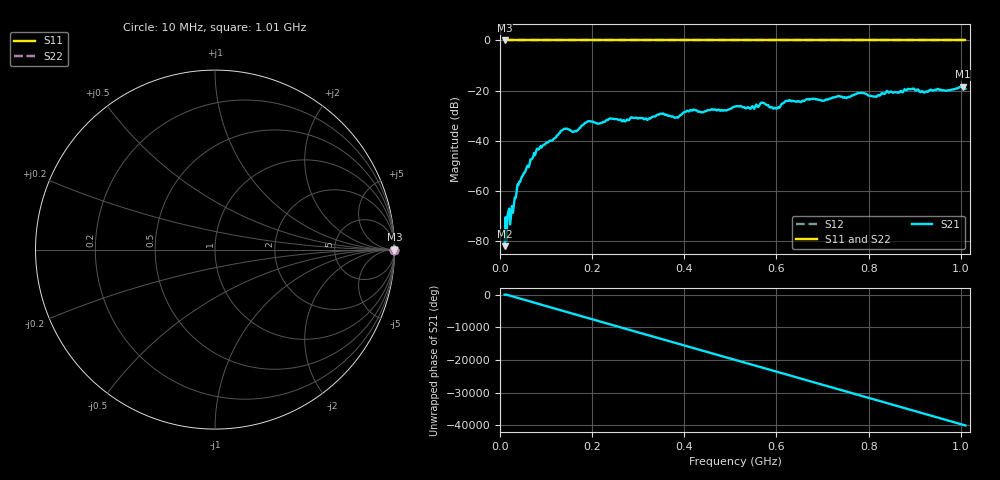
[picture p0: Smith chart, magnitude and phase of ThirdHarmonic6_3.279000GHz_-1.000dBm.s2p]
! 8/17/2025 10:10:03 AM
! C:\ANRITSUVNA\TEMP\TEMP.S2P
! CHANNEL.1
! TR.MEASUREMENT
! RAW.DATA
! RF.CORRECTION.OFF
! AVERAGING.OFF
! IF.BANDWIDTH: 5KHZ
! SWEEPTYPE:  FREQ.SWEEP(Linear)
! Reference Plane Port Info
! PORT:  PORT1  PORT2
! DISTANCE:  0  m  0  m
! TIME:  0  s  0  s
! PHASE.OFFSET:  0  deg.  0  deg.
! LOSS:  0  dB  0  dB
! REF.LOSS:  0  dB  0  dB
! REF.FREQ:  0  Hz  0  Hz
! Power Info
! POWER:  -20  dBm  -20  dBm
! EFF.POWER:  -20  dBm  -20  dBm
! SOURCE.ATTEN:  0  dB  0  dB
! TEST.ATTEN:  0  dB  0  dB
# GHZ S RI R 50.0
! FREQ.GHZ  S11RE  S11IM  S21RE  S21IM  S12RE  S12IM  S22RE  S22IM
!; PortSelection: Port_12
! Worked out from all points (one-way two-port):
!   501 points, 10 MHz to 1.01 GHz, reference 50 ohm
!   highest |S21| = -18.39 dB at 1.004 GHz (marker M1); lowest = -81.9 dB at 10 MHz (marker M2)
!   lowest |S11| = 0.0 dB at 10 MHz (marker M3)
!   |S11| at or under -10 dB: nowhere
!   |S22| runs from 0.0 to 0.0 dB; largest |S21 - S12| = 1.1
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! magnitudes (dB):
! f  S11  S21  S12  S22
! 10 MHz  0.0  -81.9  0.0  0.0
! 16 MHz  0.0  -70.2  0.0  0.0
! 26 MHz  0.0  -65.9  0.0  0.0
! 42 MHz  0.0  -56.2  0.0  0.0
! 78 MHz  0.0  -44.4  0.0  0.0
! 136 MHz  0.0  -35.7  0.0  0.0
! 162 MHz  0.0  -36.2  0.0  0.0
! 178 MHz  0.0  -33.9  0.0  0.0
! 344 MHz  0.0  -29.6  0.0  0.0
! 382 MHz  0.0  -30.7  0.0  0.0
! 416 MHz  0.0  -27.9  0.0  0.0
! 510 MHz  0.0  -26.3  0.0  0.0
! 548 MHz  0.0  -26.1  0.0  0.0
! 570 MHz  0.0  -24.8  0.0  0.0
! 598 MHz  0.0  -27.0  0.0  0.0
! 624 MHz  0.0  -24.1  0.0  0.0
! 678 MHz  0.0  -23.2  0.0  0.0
! 780 MHz  0.0  -21.0  0.0  0.0
! 814 MHz  0.0  -22.3  0.0  0.0
! 844 MHz  0.0  -20.8  0.0  0.0
! 1.004 GHz  0.0  -18.4  0.0  0.0
! 1.01 GHz  0.0  -19.2  0.0  0.0
